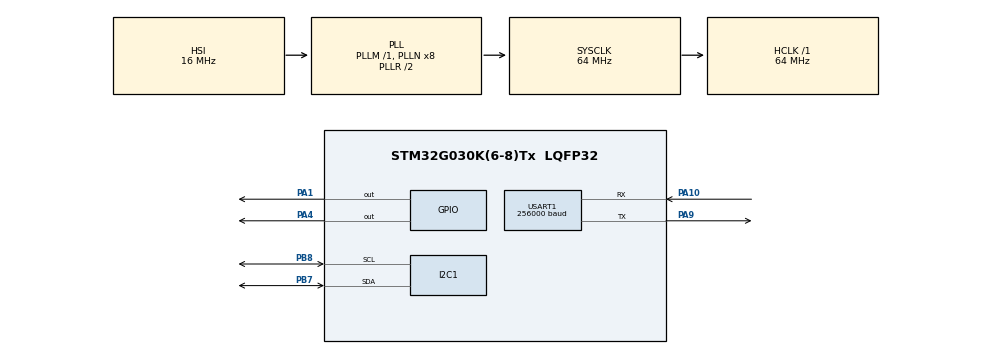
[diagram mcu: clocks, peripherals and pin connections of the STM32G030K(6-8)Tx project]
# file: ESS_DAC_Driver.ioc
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I2C1.Timing=0x10707DBC
Mcu.Family=STM32G0
Mcu.Name=STM32G030K(6-8)Tx
Mcu.Package=LQFP32
PA1.Signal=GPIO_Output
PA10.Mode=Asynchronous
PA10.Signal=USART1_RX
PA13.Mode=Serial_Wire
PA13.Signal=SYS_SWDIO
PA14-BOOT0.Mode=Serial_Wire
PA14-BOOT0.Signal=SYS_SWCLK
PA4.Signal=GPIO_Output
PA9.Mode=Asynchronous
PA9.Signal=USART1_TX
PB7.Mode=I2C
PB7.Signal=I2C1_SDA
PB8.Mode=I2C
PB8.Signal=I2C1_SCL
ProjectManager.HeapSize=0x200
ProjectManager.StackSize=0x400
ProjectManager.TargetToolchain=MDK-ARM V5.32
RCC.ADCFreq_Value=64000000
RCC.AHBFreq_Value=64000000
RCC.CortexFreq_Value=64000000
RCC.EXTERNAL_CLOCK_VALUE=12288000
RCC.HCLKFreq_Value=64000000
RCC.HSE_VALUE=8000000
RCC.HSI_VALUE=16000000
RCC.LSE_VALUE=32768
RCC.SYSCLKFreq_VALUE=64000000
RCC.SYSCLKSource=RCC_SYSCLKSOURCE_PLLCLK
RCC.VCOOutputFreq_Value=128000000
USART1.BaudRate=256000
USART1.VirtualMode-Asynchronous=VM_ASYNC
board=custom

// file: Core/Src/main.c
/* USER CODE BEGIN Header */
/**
  ******************************************************************************
  * @file           : main.c
  * @brief          : Main program body
  ******************************************************************************
  * @attention
  *
  * Copyright (c) 2023 STMicroelectronics.
  * All rights reserved.
  *
  * This software is licensed under terms that can be found in the LICENSE file
  * in the root directory of this software component.
  * If no LICENSE file comes with this software, it is provided AS-IS.
  *
  ******************************************************************************
  */
/* USER CODE END Header */
#include "main.h"
#include "i2c.h"
#include "usart.h"
#include "gpio.h"

/* USER CODE BEGIN Includes */
#include <stdio.h>
/* USER CODE END Includes */

void SystemClock_Config(void);

/* USER CODE BEGIN 0 */

#define BufferSize 256
uint8_t WriteBuffer[BufferSize], ReadBuffer[BufferSize];

/* USER CODE END 0 */

int main(void)
{
  /* USER CODE BEGIN 1 */

	int volume_left = 0, volume_right = 0;

  /* USER CODE END 1 */

  /* MCU Configuration--------------------------------------------------------*/

  /* Reset of all peripherals, Initializes the Flash interface and the Systick. */
  HAL_Init();

  /* Configure the system clock */
  SystemClock_Config();

  /* Initialize all configured peripherals */
  MX_GPIO_Init();
  MX_USART1_UART_Init();
  MX_I2C1_Init();
  /* USER CODE BEGIN 2 */
	HAL_Delay(1000);
	HAL_GPIO_WritePin(GPIOA, GPIO_PIN_1, GPIO_PIN_SET);

	for (int i = 0; i < 2; i++)
	{
		WriteBuffer[0] = 80;
		HAL_I2C_Mem_Write(&hi2c1, 0X90, 0X0F, I2C_MEMADD_SIZE_8BIT, WriteBuffer, 1, 0XFF);
		HAL_Delay(10);
		HAL_I2C_Mem_Write(&hi2c1, 0X90, 0X10, I2C_MEMADD_SIZE_8BIT, WriteBuffer, 1, 0XFF);

		HAL_Delay(100);

		HAL_I2C_Mem_Read(&hi2c1, 0X90, 0X0F, I2C_MEMADD_SIZE_8BIT, ReadBuffer, 1, 0XFF);
		volume_left = ReadBuffer[0];
		HAL_Delay(10);
		HAL_I2C_Mem_Read(&hi2c1, 0X90, 0X10, I2C_MEMADD_SIZE_8BIT, ReadBuffer, 1, 0XFF);
		volume_right = ReadBuffer[0];

		printf("%d, %d", volume_left, volume_right);
		HAL_Delay(100);
	}

  /* USER CODE END 2 */

  /* Infinite loop */
  while (1)
  {

    /* USER CODE BEGIN 3 */
		HAL_GPIO_WritePin(GPIOA, GPIO_PIN_4, GPIO_PIN_SET);
		HAL_Delay(500);

		HAL_GPIO_WritePin(GPIOA, GPIO_PIN_4, GPIO_PIN_RESET);
		HAL_Delay(500);
  }
  /* USER CODE END 3 */
}

void SystemClock_Config(void)
{
  RCC_OscInitTypeDef RCC_OscInitStruct = {0};
  RCC_ClkInitTypeDef RCC_ClkInitStruct = {0};

  /** Configure the main internal regulator output voltage
  */
  HAL_PWREx_ControlVoltageScaling(PWR_REGULATOR_VOLTAGE_SCALE1);

  /** Initializes the RCC Oscillators according to the specified parameters
  * in the RCC_OscInitTypeDef structure.
  */
  RCC_OscInitStruct.OscillatorType = RCC_OSCILLATORTYPE_HSI;
  RCC_OscInitStruct.HSIState = RCC_HSI_ON;
  RCC_OscInitStruct.HSIDiv = RCC_HSI_DIV1;
  RCC_OscInitStruct.HSICalibrationValue = RCC_HSICALIBRATION_DEFAULT;
  RCC_OscInitStruct.PLL.PLLState = RCC_PLL_ON;
  RCC_OscInitStruct.PLL.PLLSource = RCC_PLLSOURCE_HSI;
  RCC_OscInitStruct.PLL.PLLM = RCC_PLLM_DIV1;
  RCC_OscInitStruct.PLL.PLLN = 8;
  RCC_OscInitStruct.PLL.PLLP = RCC_PLLP_DIV2;
  RCC_OscInitStruct.PLL.PLLR = RCC_PLLR_DIV2;
  if (HAL_RCC_OscConfig(&RCC_OscInitStruct) != HAL_OK)
  {
    Error_Handler();
  }

  /** Initializes the CPU, AHB and APB buses clocks
  */
  RCC_ClkInitStruct.ClockType = RCC_CLOCKTYPE_HCLK|RCC_CLOCKTYPE_SYSCLK
                              |RCC_CLOCKTYPE_PCLK1;
  RCC_ClkInitStruct.SYSCLKSource = RCC_SYSCLKSOURCE_PLLCLK;
  RCC_ClkInitStruct.AHBCLKDivider = RCC_SYSCLK_DIV1;
  RCC_ClkInitStruct.APB1CLKDivider = RCC_HCLK_DIV1;

  if (HAL_RCC_ClockConfig(&RCC_ClkInitStruct, FLASH_LATENCY_2) != HAL_OK)
  {
    Error_Handler();
  }
}

void Error_Handler(void)
{
  __disable_irq();
  while (1)
  {
  }
}
